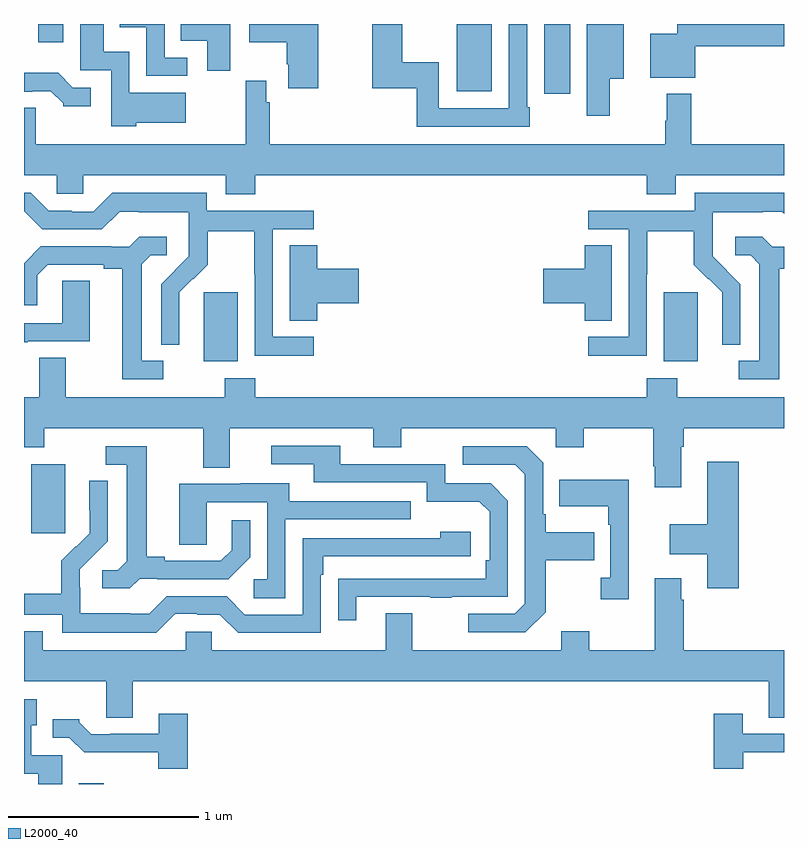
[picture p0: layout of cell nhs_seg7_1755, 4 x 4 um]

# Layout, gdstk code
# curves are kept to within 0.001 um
import gdstk
lib = gdstk.Library(unit=1e-6, precision=1e-09)
def R(c, l, rs):  # rectangles x0, y0, x1, y1
    for r in rs: c.add(gdstk.rectangle(r[:2], r[2:], *l))
def P(c, l, *ps):  # polygons
    for p in ps: c.add(gdstk.Polygon(p, *l))
L2000_40 = (2000, 40)

nhs_seg7_1755 = lib.new_cell('nhs_seg7_1755')
R(nhs_seg7_1755, L2000_40, [(229.289,1076,229.42,1076.005), (229.037,1077.321,229.216,1077.682), (229.946,1078.226,230.125,1078.587), (232.367,1078.226,232.546,1078.587), (231.737,1079.634,231.874,1080), (231.278,1079.645,231.463,1080), (229.076,1079.904,229.207,1080)])
P(nhs_seg7_1755, L2000_40, [(229.858,1079.823),(229.74,1079.823),(229.74,1080),(229.505,1080),(229.505,1079.984),(229.644,1079.984),(229.644,1079.727),(229.858,1079.727)],
  [(230.548,1080),(230.186,1080),(230.186,1079.903),(230.383,1079.903),(230.383,1079.788),(230.39,1079.788),(230.39,1079.661),(230.548,1079.661)],
  [(230.086,1079.998),(230.084,1080),(229.825,1080),(229.825,1079.912),(229.964,1079.912),(229.964,1079.754),(230.086,1079.754)],
  [(229.59,1079.48),(229.852,1079.48),(229.852,1079.638),(229.554,1079.638),(229.554,1079.854),(229.42,1079.854),(229.42,1080),(229.295,1080),(229.295,1079.757),(229.458,1079.757),(229.458,1079.462),(229.59,1079.462)],
  [(232.084,1079.711),(232.156,1079.711),(232.156,1080),(231.962,1080),(231.962,1079.517),(232.084,1079.517)],
  [(232.533,1079.884),(233,1079.884),(233,1080),(232.437,1080),(232.437,1079.95),(232.295,1079.95),(232.295,1079.717),(232.533,1079.717)],
  [(231.661,1079.563),(231.648,1079.563),(231.648,1080),(231.552,1080),(231.552,1079.556),(231.183,1079.556),(231.183,1079.798),(230.992,1079.798),(230.992,1080),(230.834,1080),(230.834,1079.662),(231.067,1079.662),(231.067,1079.46),(231.661,1079.46)],
  [(229.351,1079.664),(229.257,1079.664),(229.179,1079.743),(229,1079.743),(229,1079.643),(229.043,1079.643),(229.043,1079.646),(229.142,1079.646),(229.206,1079.582),(229.206,1079.567),(229.351,1079.567)],
  [(230.216,1079.204),(232.277,1079.204),(232.277,1079.105),(232.429,1079.105),(232.429,1079.204),(233,1079.204),(233,1079.368),(232.511,1079.368),(232.511,1079.632),(232.383,1079.632),(232.383,1079.492),(232.375,1079.492),(232.375,1079.368),(230.294,1079.368),(230.294,1079.588),(230.274,1079.588),(230.274,1079.701),(230.166,1079.701),(230.166,1079.368),(229.063,1079.368),(229.063,1079.558),(229,1079.558),(229,1079.204),(229.173,1079.204),(229.173,1079.106),(229.311,1079.106),(229.311,1079.204),(230.063,1079.204),(230.063,1079.105),(230.216,1079.105)],
  [(230.524,1078.353),(230.31,1078.353),(230.31,1078.92),(230.524,1078.92),(230.524,1079.016),(229.962,1079.016),(229.962,1079.113),(229.465,1079.113),(229.365,1079.013),(229.25,1079.013),(229.25,1079.016),(229.131,1079.016),(229.035,1079.112),(229,1079.112),(229,1079.015),(229.095,1078.92),(229.41,1078.92),(229.503,1079.013),(229.603,1079.013),(229.603,1079.009),(229.866,1079.009),(229.866,1078.875),(229.868,1078.875),(229.868,1078.778),(229.722,1078.63),(229.722,1078.312),(229.818,1078.312),(229.817,1078.589),(229.887,1078.659),(229.89,1078.656),(229.967,1078.733),(229.967,1078.908),(230.212,1078.908),(230.212,1078.684),(230.214,1078.684),(230.214,1078.255),(230.524,1078.255)],
  [(232.278,1078.684),(232.281,1078.684),(232.281,1078.908),(232.525,1078.908),(232.525,1078.733),(232.602,1078.656),(232.605,1078.659),(232.676,1078.589),(232.676,1078.466),(232.674,1078.466),(232.674,1078.312),(232.77,1078.312),(232.77,1078.63),(232.624,1078.778),(232.624,1078.875),(232.626,1078.875),(232.626,1079.009),(232.889,1079.009),(232.889,1079.013),(232.989,1079.013),(233,1079.002),(233,1079.113),(232.53,1079.113),(232.53,1079.016),(231.969,1079.016),(231.969,1078.92),(232.182,1078.92),(232.182,1078.353),(231.969,1078.353),(231.969,1078.255),(232.278,1078.255)],
  [(232.975,1078.712),(233,1078.712),(233,1078.827),(232.938,1078.827),(232.886,1078.879),(232.743,1078.879),(232.743,1078.782),(232.824,1078.782),(232.871,1078.735),(232.871,1078.227),(232.761,1078.227),(232.761,1078.131),(232.975,1078.131)],
  [(229.732,1078.227),(229.621,1078.227),(229.621,1078.735),(229.668,1078.782),(229.75,1078.782),(229.75,1078.879),(229.606,1078.879),(229.554,1078.827),(229.46,1078.827),(229.46,1078.83),(229.088,1078.83),(229,1078.742),(229,1078.521),(229.069,1078.521),(229.069,1078.677),(229.126,1078.734),(229.421,1078.734),(229.421,1078.712),(229.517,1078.712),(229.517,1078.131),(229.732,1078.131)],
  [(230.543,1078.529),(230.761,1078.529),(230.761,1078.712),(230.543,1078.712),(230.543,1078.835),(230.399,1078.835),(230.399,1078.438),(230.543,1078.438)],
  [(232.093,1078.835),(231.95,1078.835),(231.95,1078.712),(231.732,1078.712),(231.732,1078.529),(231.95,1078.529),(231.95,1078.438),(232.093,1078.438)],
  [(229.021,1078.329),(229.345,1078.329),(229.345,1078.649),(229.2,1078.649),(229.2,1078.425),(229,1078.425),(229,1078.325),(229.021,1078.325)],
  [(232.459,1077.776),(232.472,1077.776),(232.472,1077.872),(233,1077.872),(233,1078.036),(232.437,1078.036),(232.437,1078.135),(232.277,1078.135),(232.277,1078.036),(230.216,1078.036),(230.216,1078.135),(230.056,1078.135),(230.056,1078.036),(229.219,1078.036),(229.219,1078.244),(229.079,1078.244),(229.079,1078.036),(229,1078.036),(229,1077.773),(229.107,1077.773),(229.107,1077.872),(229.943,1077.872),(229.943,1077.664),(230.083,1077.664),(230.083,1077.872),(230.837,1077.872),(230.837,1077.773),(230.985,1077.773),(230.985,1077.872),(231.798,1077.872),(231.798,1077.773),(231.945,1077.773),(231.945,1077.872),(232.312,1077.872),(232.312,1077.673),(232.319,1077.673),(232.319,1077.561),(232.459,1077.561)],
  [(230.749,1076.985),(231.139,1076.985),(231.139,1076.98),(231.251,1076.98),(231.251,1076.985),(231.546,1076.985),(231.546,1077.492),(231.456,1077.582),(231.216,1077.582),(231.216,1077.684),(230.665,1077.684),(230.665,1077.78),(230.301,1077.78),(230.301,1077.684),(230.525,1077.684),(230.525,1077.588),(231.12,1077.588),(231.12,1077.485),(231.397,1077.485),(231.45,1077.432),(231.45,1077.178),(231.43,1077.178),(231.43,1077.081),(230.653,1077.08),(230.653,1076.862),(230.749,1076.862)],
  [(231.745,1076.905),(231.745,1077.178),(232.001,1077.178),(232.001,1077.325),(231.745,1077.325),(231.745,1077.421),(231.732,1077.421),(231.732,1077.69),(231.645,1077.777),(231.309,1077.777),(231.309,1077.681),(231.585,1077.681),(231.636,1077.63),(231.636,1076.949),(231.582,1076.895),(231.339,1076.895),(231.339,1076.799),(231.639,1076.799)],
  [(229.608,1077.081),(229.702,1077.081),(229.702,1077.078),(230.074,1077.078),(230.19,1077.194),(230.19,1077.388),(230.093,1077.388),(230.093,1077.231),(230.036,1077.174),(229.741,1077.174),(229.741,1077.197),(229.645,1077.197),(229.645,1077.777),(229.431,1077.777),(229.431,1077.681),(229.541,1077.681),(229.541,1077.173),(229.494,1077.126),(229.413,1077.126),(229.413,1077.029),(229.556,1077.029)],
  [(232.763,1077.697),(232.595,1077.697),(232.595,1077.367),(232.398,1077.367),(232.398,1077.209),(232.595,1077.209),(232.595,1077.03),(232.763,1077.03)],
  [(232.184,1077.601),(231.817,1077.601),(231.817,1077.461),(232.074,1077.461),(232.074,1077.365),(232.086,1077.365),(232.086,1077.086),(232.035,1077.086),(232.035,1076.973),(232.184,1076.973)],
  [(229.797,1076.895),(229.913,1076.895),(229.913,1076.892),(230.031,1076.892),(230.127,1076.796),(230.562,1076.796),(230.562,1077.101),(230.575,1077.101),(230.575,1077.198),(231.352,1077.198),(231.352,1077.328),(231.191,1077.328),(231.191,1077.294),(230.466,1077.294),(230.466,1076.892),(230.163,1076.892),(230.067,1076.988),(229.752,1076.988),(229.659,1076.895),(229.559,1076.895),(229.559,1076.899),(229.296,1076.899),(229.296,1077.033),(229.294,1077.033),(229.294,1077.13),(229.44,1077.278),(229.44,1077.596),(229.344,1077.596),(229.344,1077.442),(229.346,1077.442),(229.346,1077.32),(229.275,1077.249),(229.272,1077.252),(229.195,1077.175),(229.195,1077.001),(229,1077.001),(229,1076.892),(229.2,1076.892),(229.2,1076.795),(229.697,1076.795)],
  [(230.376,1077.393),(231.035,1077.393),(231.035,1077.489),(230.395,1077.489),(230.395,1077.583),(230.141,1077.583),(230.141,1077.579),(229.817,1077.579),(229.817,1077.259),(229.962,1077.259),(229.962,1077.483),(230.28,1077.483),(230.28,1077.078),(230.208,1077.078),(230.208,1076.977),(230.376,1076.977)],
  [(229.573,1076.54),(232.919,1076.54),(232.919,1076.35),(233,1076.35),(233,1076.704),(232.472,1076.704),(232.472,1076.969),(232.459,1076.969),(232.459,1077.082),(232.319,1077.082),(232.319,1076.704),(231.975,1076.704),(231.975,1076.803),(231.827,1076.803),(231.827,1076.704),(231.043,1076.704),(231.043,1076.899),(230.903,1076.899),(230.903,1076.704),(229.989,1076.704),(229.989,1076.802),(229.851,1076.802),(229.851,1076.704),(229.099,1076.704),(229.099,1076.803),(229,1076.803),(229,1076.54),(229.433,1076.54),(229.433,1076.35),(229.573,1076.35)],
  [(229.201,1076.151),(229.038,1076.151),(229.038,1076.31),(229.066,1076.31),(229.066,1076.446),(229,1076.446),(229,1076.054),(229.076,1076.054),(229.076,1076),(229.201,1076)],
  [(232.786,1076.168),(233,1076.168),(233,1076.265),(232.783,1076.265),(232.783,1076.371),(232.631,1076.371),(232.631,1076.081),(232.786,1076.081)],
  [(229.862,1076.371),(229.709,1076.371),(229.709,1076.265),(229.453,1076.265),(229.453,1076.262),(229.354,1076.262),(229.29,1076.326),(229.29,1076.341),(229.151,1076.341),(229.151,1076.244),(229.239,1076.244),(229.318,1076.166),(229.707,1076.166),(229.707,1076.081),(229.862,1076.081)])

lib.write_gds('nhs_seg7_1755.gds')
